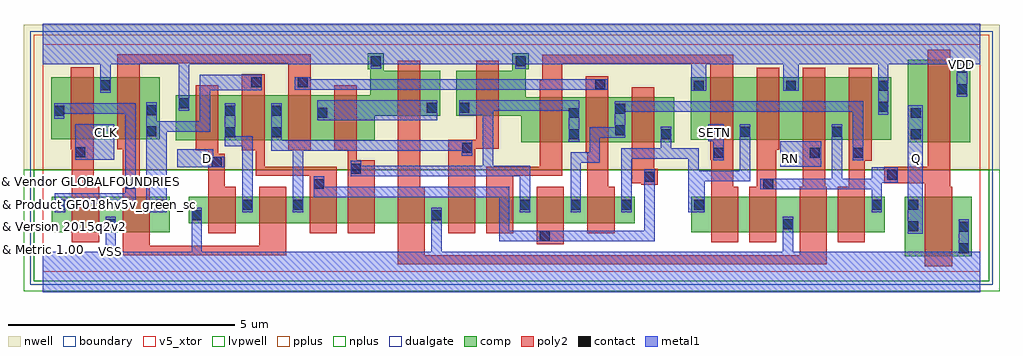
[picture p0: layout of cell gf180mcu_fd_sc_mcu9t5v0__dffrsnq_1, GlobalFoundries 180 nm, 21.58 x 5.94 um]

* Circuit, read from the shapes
.subckt gf180mcu_fd_sc_mcu9t5v0__dffrsnq_1 CLK D Q RN SETN VDD VSS
XM1 VSS CLK n1 VSUBS nfet_05v0 w=0.79u l=0.6u
XM2 n2 n1 VSS VSUBS nfet_05v0 w=0.79u l=0.6u
XM3 n3 D VSS VSUBS nfet_05v0 w=0.59u l=0.6u
XM4 n4 n1 n3 VSUBS nfet_05v0 w=0.59u l=0.6u
XM5 n5 n2 n4 VSUBS nfet_05v0 w=0.59u l=0.6u
XM6 n6 n7 n5 VSUBS nfet_05v0 w=0.59u l=0.6u
XM7 VSS RN n6 VSUBS nfet_05v0 w=0.59u l=0.6u
XM8 n8 n4 VSS VSUBS nfet_05v0 w=0.59u l=0.6u
XM9 n7 SETN n8 VSUBS nfet_05v0 w=0.59u l=0.6u
XM10 n9 n2 n7 VSUBS nfet_05v0 w=0.59u l=0.6u
XM11 n10 n1 n9 VSUBS nfet_05v0 w=0.59u l=0.6u
XM12 n11 SETN n10 VSUBS nfet_05v0 w=0.79u l=0.6u
XM13 VSS n12 n11 VSUBS nfet_05v0 w=0.79u l=0.6u
XM14 n13 RN VSS VSUBS nfet_05v0 w=0.79u l=0.6u
XM15 n12 n9 n13 VSUBS nfet_05v0 w=0.79u l=0.6u
XM16 VSS n12 Q VSUBS nfet_05v0 w=1.32u l=0.6u
XM17 VDD CLK n1 n14 pfet_05v0 w=1.38u l=0.5u
XM18 n2 n1 VDD n14 pfet_05v0 w=1.38u l=0.5u
XM19 n3 D VDD n14 pfet_05v0 w=1u l=0.5u
XM20 n4 n2 n3 n14 pfet_05v0 w=1u l=0.5u
XM21 n15 n1 n4 n14 pfet_05v0 w=1u l=0.5u
XM22 VDD n7 n15 n14 pfet_05v0 w=1u l=0.5u
XM23 n15 RN VDD n14 pfet_05v0 w=1u l=0.5u
XM24 VDD n4 n7 n14 pfet_05v0 w=1u l=0.5u
XM25 n7 SETN VDD n14 pfet_05v0 w=1u l=0.5u
XM26 n9 n1 n7 n14 pfet_05v0 w=1u l=0.5u
XM27 n10 n2 n9 n14 pfet_05v0 w=1u l=0.5u
XM28 n10 SETN VDD n14 pfet_05v0 w=1.38u l=0.5u
XM29 VDD n12 n10 n14 pfet_05v0 w=1.38u l=0.5u
XM30 n12 RN VDD n14 pfet_05v0 w=1.38u l=0.5u
XM31 VDD n9 n12 n14 pfet_05v0 w=1.38u l=0.5u
XM32 VDD n12 Q n14 pfet_05v0 w=1.83u l=0.5u
.ends

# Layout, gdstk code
import gdstk
lib = gdstk.Library(unit=1e-6, precision=1e-09)
def R(c, l, rs):  # rectangles x0, y0, x1, y1
    for r in rs: c.add(gdstk.rectangle(r[:2], r[2:], *l))
def A(c, l, x, y, w, h, nx, ny, dx, dy):  # array of equal rectangles
    R(c, l, [(x+i*dx, y+j*dy, x+i*dx+w, y+j*dy+h) for i in range(nx) for j in range(ny)])
def P(c, l, *ps):  # polygons
    for p in ps: c.add(gdstk.Polygon(p, *l))
boundary = (0, 0)
nwell = (21, 0)
comp = (22, 0)
poly2 = (30, 0)
pplus = (31, 0)
nplus = (32, 0)
contact = (33, 0)
metal1 = (34, 0)
dualgate = (55, 0)
v5_xtor = (112, 1)
lvpwell = (204, 0)

gf180mcu_fd_sc_mcu9t5v0_ = lib.new_cell('gf180mcu_fd_sc_mcu9t5v0__dffrsnq_1')
R(gf180mcu_fd_sc_mcu9t5v0_, boundary, [(0,0,20.72,5.04)])
R(gf180mcu_fd_sc_mcu9t5v0_, nwell, [(-0.43,2.265,21.15,5.47)])
R(gf180mcu_fd_sc_mcu9t5v0_, comp, [(19.06,0.345,20.54,1.665), (0.2,0.875,2.8,1.665), (14.335,0.875,18.615,1.665), (3.22,1.075,13.08,1.665), (19.12,2.865,20.5,4.695), (14.32,2.92,18.76,4.3), (0.18,2.93,2.58,4.31)])
P(gf180mcu_fd_sc_mcu9t5v0_, comp, [(2.94,2.91),(2.94,3.91),(7.24,3.91),(7.24,4.48),(7.18,4.48),(7.18,4.84),(7.54,4.84),(7.54,4.45),(8.78,4.45),(8.78,3.45),(7.34,3.45),(7.34,2.91)],
  [(10.58,2.865),(10.58,3.45),(9.14,3.45),(9.14,4.45),(10.38,4.45),(10.38,4.84),(10.74,4.84),(10.74,4.48),(10.68,4.48),(10.68,3.865),(13.96,3.865),(13.96,2.865)])
R(gf180mcu_fd_sc_mcu9t5v0_, poly2, [(10.92,0.615,11.52,1.885)])
P(gf180mcu_fd_sc_mcu9t5v0_, poly2, [(0.64,0.655),(0.64,2.71),(0.62,2.71),(0.62,4.53),(1.12,4.53),(1.12,1.885),(1.24,1.885),(1.24,0.655)],
  [(3.66,0.855),(3.66,2.69),(3.38,2.69),(3.38,4.13),(3.88,4.13),(3.88,2.61),(4.02,2.61),(4.02,1.885),(4.26,1.885),(4.26,0.855)],
  [(1.76,0.375),(1.76,2.71),(1.64,2.71),(1.64,4.81),(5.92,4.81),(5.92,2.69),(5.42,2.69),(5.42,4.61),(2.14,4.61),(2.14,1.885),(2.36,1.885),(2.36,0.575),(4.78,0.575),(4.78,1.885),(5.38,1.885),(5.38,0.375)],
  [(5.9,0.855),(5.9,2.125),(4.7,2.125),(4.7,2.69),(4.4,2.69),(4.4,4.37),(4.9,4.37),(4.9,2.325),(6.5,2.325),(6.5,0.855)],
  [(6.74,0.855),(6.74,2.69),(6.44,2.69),(6.44,4.13),(6.94,4.13),(6.94,2.465),(7.34,2.465),(7.34,0.855)],
  [(8.96,0.855),(8.96,2.925),(9.58,2.925),(9.58,4.67),(10.08,4.67),(10.08,2.725),(9.56,2.725),(9.56,0.855)],
  [(12.04,0.855),(12.04,2.645),(12,2.645),(12,4.325),(12.5,4.325),(12.5,1.885),(12.64,1.885),(12.64,0.855)],
  [(13.23,1.925),(13.23,1.965),(13.02,1.965),(13.02,4.085),(13.52,4.085),(13.52,2.285),(13.59,2.285),(13.59,1.925)],
  [(14.775,0.655),(14.775,2.485),(14.76,2.485),(14.76,4.6),(11.48,4.6),(11.48,2.125),(10.4,2.125),(10.4,0.855),(9.8,0.855),(9.8,2.325),(10.98,2.325),(10.98,4.235),(11.04,4.235),(11.04,4.8),(15.26,4.8),(15.26,1.885),(15.375,1.885),(15.375,0.655)],
  [(15.615,0.655),(15.615,1.885),(15.78,1.885),(15.78,4.52),(16.28,4.52),(16.28,2.7),(16.215,2.7),(16.215,0.655)],
  [(7.84,0.175),(7.84,4.67),(8.34,4.67),(8.34,1.885),(8.44,1.885),(8.44,0.375),(16.735,0.375),(16.735,1.885),(16.8,1.885),(16.8,4.52),(17.3,4.52),(17.3,1.885),(17.335,1.885),(17.335,0.175)],
  [(17.575,0.655),(17.575,1.885),(17.82,1.885),(17.82,4.52),(18.32,4.52),(18.32,2.46),(18.17,2.46),(18.17,1.885),(18.175,1.885),(18.175,0.655)],
  [(19.5,0.125),(19.5,1.965),(18.6,1.965),(18.6,2.325),(19.56,2.325),(19.56,4.915),(20.06,4.915),(20.06,1.885),(20.1,1.885),(20.1,0.125)])
R(gf180mcu_fd_sc_mcu9t5v0_, pplus, [(-0.2,2.265,20.92,5.24)])
R(gf180mcu_fd_sc_mcu9t5v0_, nplus, [(-0.2,-0.2,20.92,2.265)])
A(gf180mcu_fd_sc_mcu9t5v0_, contact, 10.55, 1.375, 0.22, 0.22, 3, 1, 1.12, 0)
A(gf180mcu_fd_sc_mcu9t5v0_, contact, 14.39, 4.01, 0.22, 0.22, 3, 1, 2.04, 0)
R(gf180mcu_fd_sc_mcu9t5v0_, contact, [(20.25,0.415,20.47,0.635), (10.99,0.685,11.21,0.905), (20.25,0.885,20.47,1.105), (19.13,0.905,19.35,1.125), (1.39,0.945,1.61,1.165), (16.365,0.945,16.585,1.165), (3.29,1.145,3.51,1.365), (8.59,1.145,8.81,1.365), (0.27,1.375,0.49,1.595), (2.51,1.375,2.73,1.595), (4.41,1.375,4.63,1.595), (5.53,1.375,5.75,1.595), (14.405,1.375,14.625,1.595), (18.325,1.375,18.545,1.595), (19.13,1.375,19.35,1.595), (1.83,1.835,2.05,2.055), (5.99,1.835,6.21,2.055), (15.925,1.835,16.145,2.055), (13.3,1.995,13.52,2.215), (18.67,2.035,18.89,2.255), (6.81,2.175,7.03,2.395), (3.73,2.32,3.95,2.54), (14.83,2.53,15.05,2.75), (16.955,2.53,17.175,2.75), (17.91,2.53,18.13,2.75), (0.715,2.54,0.935,2.76), (9.27,2.635,9.49,2.855), (11.63,2.935,11.85,3.155), (13.67,2.935,13.89,3.155), (19.19,2.935,19.41,3.155), (4.03,2.98,4.25,3.2), (5.05,2.98,5.27,3.2), (15.41,2.99,15.63,3.21), (17.45,2.99,17.67,3.21), (2.29,3,2.51,3.22), (12.65,3.025,12.87,3.245), (11.63,3.405,11.85,3.625), (19.19,3.405,19.41,3.625), (6.07,3.41,6.29,3.63), (0.25,3.45,0.47,3.67), (4.03,3.45,4.25,3.67), (5.05,3.45,5.27,3.67), (2.29,3.47,2.51,3.69), (12.65,3.495,12.87,3.715), (8.49,3.52,8.71,3.74), (9.21,3.52,9.43,3.74), (18.47,3.54,18.69,3.76), (3.01,3.62,3.23,3.84), (20.21,3.935,20.43,4.155), (1.27,4.02,1.49,4.24), (12.21,4.035,12.43,4.255), (4.61,4.08,4.83,4.3), (5.63,4.08,5.85,4.3), (20.21,4.405,20.43,4.625), (7.25,4.55,7.47,4.77), (10.45,4.55,10.67,4.77)])
R(gf180mcu_fd_sc_mcu9t5v0_, metal1, [(19.125,0.845,19.45,3.685), (16.3,2.33,17.21,2.89), (0.71,2.48,1.58,3.27), (6.065,3.35,8.715,3.8)])
P(gf180mcu_fd_sc_mcu9t5v0_, metal1, [(0.265,1.315),(0.265,1.74),(1.825,1.74),(1.825,3.5),(0.475,3.5),(0.475,3.39),(0.245,3.39),(0.245,3.73),(2.055,3.73),(2.055,1.51),(0.495,1.51),(0.495,1.315)],
  [(2.965,2.315),(2.965,2.71),(3.77,2.71),(3.77,2.545),(4.01,2.545),(4.01,2.315)],
  [(4.405,1.315),(4.405,2.775),(4.025,2.775),(4.025,3.73),(4.255,3.73),(4.255,3.005),(4.635,3.005),(4.635,1.315)],
  [(2.285,1.315),(2.285,3.75),(2.515,3.75),(2.515,3.33),(3.465,3.33),(3.465,4.36),(4.835,4.36),(4.835,4.02),(3.695,4.02),(3.695,3.1),(2.735,3.1),(2.735,1.315)],
  [(5.525,1.315),(5.525,2.685),(5.045,2.685),(5.045,3.73),(5.275,3.73),(5.275,2.915),(9.495,2.915),(9.495,2.575),(9.265,2.575),(9.265,2.685),(5.755,2.685),(5.755,1.315)],
  [(10.545,1.315),(10.545,2.115),(6.805,2.115),(6.805,2.455),(7.035,2.455),(7.035,2.345),(9.725,2.345),(9.725,3.46),(9.205,3.46),(9.205,3.8),(11.855,3.8),(11.855,2.875),(11.625,2.875),(11.625,3.57),(9.955,3.57),(9.955,2.345),(10.775,2.345),(10.775,1.315)],
  [(5.57,4.03),(5.57,4.305),(5.91,4.305),(5.91,4.26),(12.49,4.26),(12.49,4.03)],
  [(10.085,0.68),(10.085,1.655),(5.985,1.655),(5.985,2.115),(6.215,2.115),(6.215,1.885),(10.315,1.885),(10.315,0.91),(13.295,0.91),(13.295,2.275),(13.525,2.275),(13.525,0.68)],
  [(14.825,2.47),(14.825,2.89),(14.71,2.89),(14.71,3.27),(15.055,3.27),(15.055,2.47)],
  [(12.785,1.315),(12.785,2.735),(13.665,2.735),(13.665,3.215),(13.895,3.215),(13.895,2.735),(14.495,2.735),(14.495,2.24),(15.405,2.24),(15.405,3.27),(15.635,3.27),(15.635,2.01),(14.63,2.01),(14.63,1.315),(14.265,1.315),(14.265,2.505),(13.015,2.505),(13.015,1.315)],
  [(11.665,1.315),(11.665,2.645),(12.085,2.645),(12.085,3.195),(12.645,3.195),(12.645,3.775),(18.135,3.775),(18.135,2.47),(17.905,2.47),(17.905,3.545),(12.875,3.545),(12.875,2.965),(12.315,2.965),(12.315,2.415),(11.895,2.415),(11.895,1.315)],
  [(18.32,1.315),(18.32,1.83),(15.865,1.83),(15.865,2.06),(17.445,2.06),(17.445,3.27),(17.675,3.27),(17.675,2.06),(18.32,2.06),(18.32,2.315),(18.895,2.315),(18.895,1.975),(18.55,1.975),(18.55,1.315)],
  [(0,-0.45),(0,0.45),(1.385,0.45),(1.385,1.225),(1.615,1.225),(1.615,0.45),(3.285,0.45),(3.285,1.425),(3.515,1.425),(3.515,0.45),(8.585,0.45),(8.585,1.425),(8.815,1.425),(8.815,0.45),(16.36,0.45),(16.36,1.225),(16.59,1.225),(16.59,0.45),(20.245,0.45),(20.245,1.165),(20.475,1.165),(20.475,0.45),(20.72,0.45),(20.72,-0.45)],
  [(18.465,3.48),(18.465,4.59),(16.71,4.59),(16.71,4.005),(16.37,4.005),(16.37,4.59),(14.67,4.59),(14.67,4.005),(14.33,4.005),(14.33,4.59),(10.675,4.59),(10.675,4.49),(10.445,4.49),(10.445,4.59),(7.475,4.59),(7.475,4.49),(7.245,4.49),(7.245,4.59),(3.235,4.59),(3.235,3.56),(3.005,3.56),(3.005,4.59),(1.495,4.59),(1.495,3.96),(1.265,3.96),(1.265,4.59),(0,4.59),(0,5.49),(20.72,5.49),(20.72,4.59),(20.435,4.59),(20.435,3.875),(20.205,3.875),(20.205,4.59),(18.695,4.59),(18.695,3.48)])
R(gf180mcu_fd_sc_mcu9t5v0_, dualgate, [(-0.28,-0.28,21,5.32)])
R(gf180mcu_fd_sc_mcu9t5v0_, v5_xtor, [(0,0,20.72,5.04)])
R(gf180mcu_fd_sc_mcu9t5v0_, lvpwell, [(-0.43,-0.43,21.15,2.265)])
gf180mcu_fd_sc_mcu9t5v0_.add(gdstk.Label('CLK', (1.4,3.08), layer=34, texttype=10))
gf180mcu_fd_sc_mcu9t5v0_.add(gdstk.Label('D', (3.64,2.52), layer=34, texttype=10))
gf180mcu_fd_sc_mcu9t5v0_.add(gdstk.Label('Q', (19.32,2.52), layer=34, texttype=10))
gf180mcu_fd_sc_mcu9t5v0_.add(gdstk.Label('RN', (16.52,2.52), layer=34, texttype=10))
gf180mcu_fd_sc_mcu9t5v0_.add(gdstk.Label('SETN', (14.84,3.08), layer=34, texttype=10))
gf180mcu_fd_sc_mcu9t5v0_.add(gdstk.Label('VDD', (20.32,4.59), layer=34, texttype=10))
gf180mcu_fd_sc_mcu9t5v0_.add(gdstk.Label('VSS', (1.5,0.45), layer=34, texttype=10))
gf180mcu_fd_sc_mcu9t5v0_.add(gdstk.Label('& Vendor GLOBALFOUNDRIES', (0,2), layer=63, texttype=63))
gf180mcu_fd_sc_mcu9t5v0_.add(gdstk.Label('& Product GF018hv5v_green_sc9', (0,1.5), layer=63, texttype=63))
gf180mcu_fd_sc_mcu9t5v0_.add(gdstk.Label('& Version 2015q2v2', (0,1), layer=63, texttype=63))
gf180mcu_fd_sc_mcu9t5v0_.add(gdstk.Label('& Metric 1.00', (0,0.5), layer=63, texttype=63))

lib.write_gds('gf180mcu_fd_sc_mcu9t5v0__dffrsnq_1.gds')
